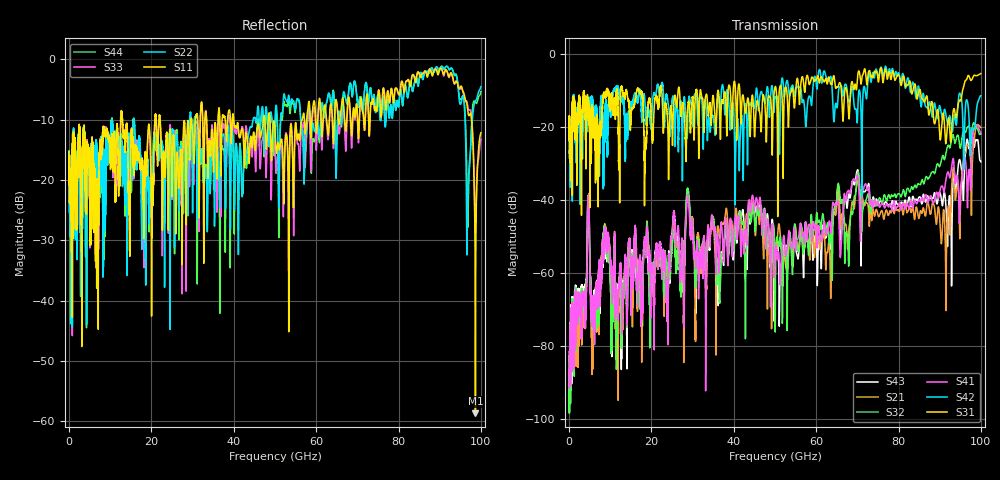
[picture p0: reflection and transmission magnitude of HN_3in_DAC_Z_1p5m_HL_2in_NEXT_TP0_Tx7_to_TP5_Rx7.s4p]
# GHz S RI R 45
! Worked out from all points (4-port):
!   4000 points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, 25 MHz to 100 GHz, reference 45 ohm
!   strongest paths, dB at 25 MHz, 25.02 GHz, 50.02 GHz, 75.03 GHz, 100 GHz:
!     S31: -17.1, -20.4, -9.1, -7.3, -5.4
!     S42: -17.1, -12.8, -11.9, -6.5, -11.5
!     S41: -87.3, -50.3, -55.1, -40.5, -21.7
!     S32: -97.6, -53.5, -62.2, -40.8, -21.9
!     S21: -93.9, -51.8, -54.7, -44.1, -20.2
!     S43: -96.0, -49.2, -55.9, -41.2, -29.6
!   lowest |S11| = -58.7 dB at 98.67 GHz (marker M1), VSWR 1.00, Z = 44.9 - j0.0586 ohm
!   |S11| at or under -10 dB: start of sweep to 12.54 GHz; 12.98 GHz to 20.85 GHz (7.868 GHz wide, 46.5 % of centre); 48.79 GHz to 56.62 GHz (7.828 GHz wide, 14.9 % of centre)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
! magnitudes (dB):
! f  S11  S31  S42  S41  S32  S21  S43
! 25 MHz  -15.3  -17.1  -17.1  -87.3  -97.6  -93.9  -96.0
! 4.7 GHz  -16.4  -15.1  -12.7  -44.2  -44.1  -44.2  -43.8
! 5.875 GHz  -16.4  -17.6  -13.6  -69.5  -72.5  -78.9  -71.5
! 28.82 GHz  -10.3  -14.5  -18.3  -38.5  -36.8  -38.0  -37.6
! 91.5 GHz  -1.7  -24.6  -16.6  -34.6  -27.4  -66.5  -41.4
! 98.67 GHz  -58.7  -6.0  -18.7  -19.8  -19.8  -20.9  -23.7
! 100 GHz  -12.2  -5.4  -11.5  -21.7  -21.9  -20.2  -29.6
